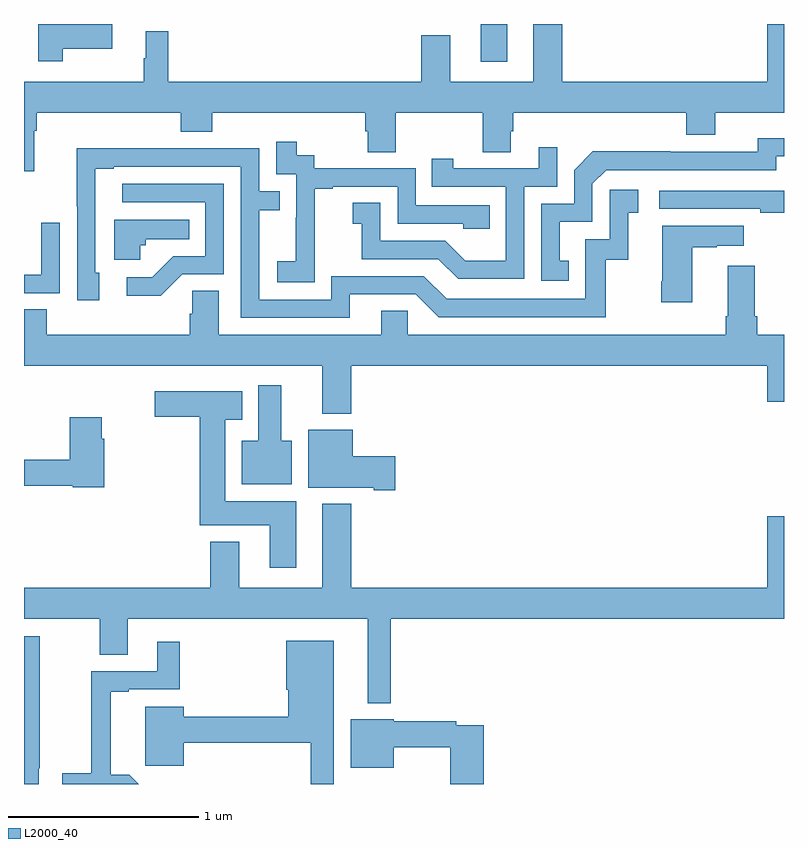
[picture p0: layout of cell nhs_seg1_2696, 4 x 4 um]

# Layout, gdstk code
import gdstk
lib = gdstk.Library(unit=1e-6, precision=1e-09)
def R(c, l, rs):  # rectangles x0, y0, x1, y1
    for r in rs: c.add(gdstk.rectangle(r[:2], r[2:], *l))
def P(c, l, *ps):  # polygons
    for p in ps: c.add(gdstk.Polygon(p, *l))
L2000_40 = (2000, 40)

nhs_seg1_2696 = lib.new_cell('nhs_seg1_2696')
R(nhs_seg1_2696, L2000_40, [(259.403,552,259.543,552.199)])
P(nhs_seg1_2696, L2000_40, [(257.203,552.068),(257.464,552.068),(257.464,552.199),(257,552.199),(257,552.198),(257.074,552.198),(257.074,552.003),(257.203,552.003)],
  [(259.414,551.524),(259.561,551.524),(259.561,551.634),(259.574,551.634),(259.574,551.732),(260.486,551.732),(260.486,551.615),(260.638,551.615),(260.638,551.732),(261,551.732),(261,552.199),(260.912,552.199),(260.912,551.896),(259.832,551.896),(259.832,552.199),(259.679,552.199),(259.679,551.896),(259.243,551.896),(259.243,552.139),(259.091,552.139),(259.091,551.896),(257.759,551.896),(257.759,552.16),(257.642,552.16),(257.642,552.02),(257.631,552.02),(257.631,551.896),(257,551.896),(257,551.423),(257.053,551.423),(257.053,551.636),(257.066,551.636),(257.066,551.732),(257.825,551.732),(257.825,551.633),(257.99,551.633),(257.99,551.732),(258.797,551.732),(258.797,551.634),(258.809,551.634),(258.809,551.524),(258.957,551.524),(258.957,551.732),(259.414,551.732)],
  [(259.868,550.953),(259.819,550.953),(259.819,551.157),(259.992,551.157),(259.992,551.358),(260.064,551.43),(260.958,551.43),(260.958,551.502),(261,551.502),(261,551.599),(260.862,551.599),(260.862,551.526),(260.402,551.526),(260.402,551.528),(259.994,551.528),(259.896,551.43),(259.896,551.253),(259.722,551.253),(259.722,550.848),(259.868,550.848)],
  [(258.531,551.047),(258.529,551.047),(258.529,551.331),(258.625,551.331),(258.625,551.343),(258.966,551.343),(258.966,551.148),(259.311,551.148),(259.311,551.121),(259.451,551.121),(259.451,551.244),(259.062,551.244),(259.062,551.439),(258.528,551.439),(258.528,551.508),(258.436,551.508),(258.436,551.578),(258.327,551.578),(258.327,551.409),(258.432,551.409),(258.432,551.18),(258.431,551.18),(258.431,550.951),(258.333,550.951),(258.333,550.841),(258.531,550.841)],
  [(259.632,551.343),(259.806,551.343),(259.806,551.551),(259.709,551.551),(259.709,551.439),(259.258,551.439),(259.258,551.491),(259.147,551.491),(259.147,551.343),(259.536,551.343),(259.536,550.954),(259.322,550.954),(259.218,551.058),(258.876,551.058),(258.876,551.257),(258.729,551.257),(258.729,551.147),(258.778,551.147),(258.778,550.962),(259.181,550.962),(259.286,550.857),(259.632,550.857)],
  [(258.715,550.776),(259.062,550.776),(259.182,550.656),(260.062,550.656),(260.062,550.959),(260.18,550.959),(260.18,551.205),(260.233,551.205),(260.233,551.326),(260.082,551.326),(260.082,551.067),(259.953,551.067),(259.953,550.752),(259.224,550.752),(259.104,550.872),(258.618,550.872),(258.618,550.749),(258.237,550.749),(258.237,551.218),(258.347,551.218),(258.347,551.319),(258.237,551.319),(258.237,551.544),(257.741,551.544),(257.741,551.546),(257.278,551.546),(257.278,551.239),(257.28,551.239),(257.28,550.746),(257.395,550.746),(257.395,550.89),(257.376,550.89),(257.376,551.436),(257.473,551.436),(257.473,551.448),(258.141,551.448),(258.141,550.653),(258.715,550.653)],
  [(257.832,550.881),(258.051,550.881),(258.051,551.358),(257.517,551.358),(257.517,551.262),(257.955,551.262),(257.955,550.977),(257.786,550.977),(257.675,550.866),(257.541,550.866),(257.541,550.769),(257.719,550.769)],
  [(261,551.322),(260.343,551.322),(260.343,551.226),(260.875,551.226),(260.875,551.206),(261,551.206)],
  [(257.613,551.034),(257.64,551.034),(257.64,551.066),(257.87,551.066),(257.87,551.17),(257.474,551.17),(257.474,550.958),(257.613,550.958)],
  [(257.187,551.152),(257.091,551.152),(257.091,550.878),(257,550.878),(257,550.782),(257.187,550.782)],
  [(260.518,551.023),(260.645,551.023),(260.645,551.033),(260.788,551.033),(260.788,551.137),(260.36,551.137),(260.36,550.846),(260.353,550.846),(260.353,550.734),(260.518,550.734)],
  [(258.025,550.796),(257.886,550.796),(257.886,550.673),(257.873,550.673),(257.873,550.564),(257.12,550.564),(257.12,550.697),(257,550.697),(257,550.4),(258.569,550.4),(258.569,550.148),(258.722,550.148),(258.722,550.4),(260.912,550.4),(260.912,550.212),(261,550.212),(261,550.564),(260.858,550.564),(260.858,550.66),(260.845,550.66),(260.845,550.927),(260.705,550.927),(260.705,550.66),(260.693,550.66),(260.693,550.564),(259.02,550.564),(259.02,550.691),(258.881,550.691),(258.881,550.564),(258.025,550.564)],
  [(258.409,550.006),(258.355,550.006),(258.355,550.297),(258.233,550.297),(258.233,550.006),(258.146,550.006),(258.146,549.776),(258.409,549.776)],
  [(258.433,549.688),(258.058,549.688),(258.058,550.115),(258.148,550.115),(258.148,550.267),(257.688,550.267),(257.688,550.133),(257.924,550.133),(257.924,549.56),(258.293,549.56),(258.293,549.336),(258.433,549.336)],
  [(257.423,550.016),(257.41,550.016),(257.41,550.129),(257.24,550.129),(257.24,549.905),(257,549.905),(257,549.769),(257.256,549.769),(257.256,549.761),(257.423,549.761)],
  [(258.955,549.924),(258.73,549.924),(258.73,550.063),(258.497,550.063),(258.497,549.758),(258.842,549.758),(258.842,549.746),(258.955,549.746)],
  [(258.931,549.068),(261,549.068),(261,549.607),(260.912,549.607),(260.912,549.232),(258.722,549.232),(258.722,549.673),(258.569,549.673),(258.569,549.232),(258.133,549.232),(258.133,549.475),(257.981,549.475),(257.981,549.232),(257,549.232),(257,549.068),(257.398,549.068),(257.398,548.878),(257.545,548.878),(257.545,549.068),(258.809,549.068),(258.809,548.624),(258.931,548.624)],
  [(257.078,548.281),(257.084,548.281),(257.084,548.976),(257,548.976),(257,548.199),(257.078,548.199)],
  [(258.631,548.953),(258.38,548.953),(258.38,548.694),(258.392,548.694),(258.392,548.552),(257.842,548.552),(257.842,548.605),(257.639,548.605),(257.639,548.295),(257.842,548.295),(257.842,548.416),(258.51,548.416),(258.51,548.199),(258.631,548.199)],
  [(257.555,548.248),(257.456,548.248),(257.456,548.685),(257.551,548.685),(257.551,548.697),(257.819,548.697),(257.819,548.947),(257.702,548.947),(257.702,548.793),(257.353,548.793),(257.353,548.255),(257.202,548.255),(257.202,548.199),(257.604,548.199)],
  [(259.421,548.508),(259.274,548.508),(259.274,548.528),(258.946,548.528),(258.946,548.539),(258.719,548.539),(258.719,548.285),(258.946,548.285),(258.946,548.392),(259.243,548.392),(259.243,548.199),(259.421,548.199)])

lib.write_gds('nhs_seg1_2696.gds')
